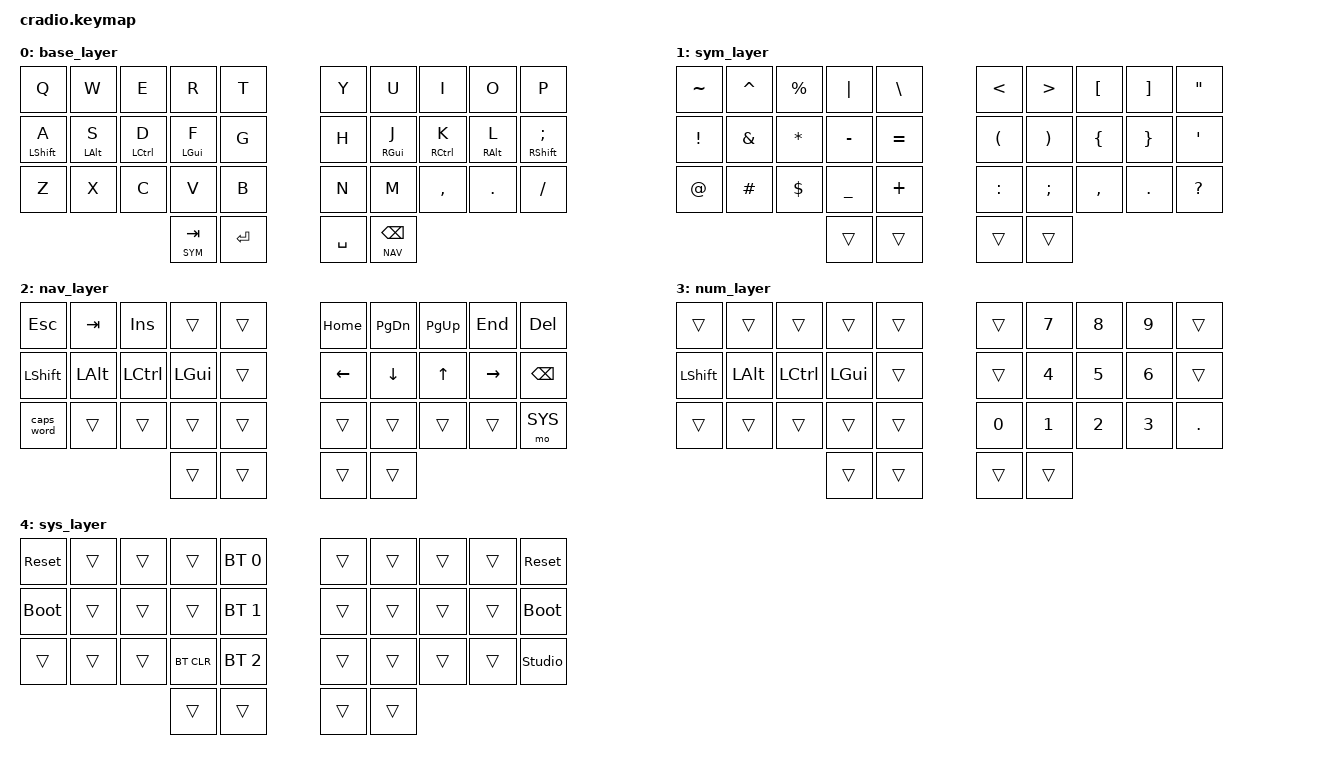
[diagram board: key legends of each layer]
// Copyright (c) 2022 The ZMK Contributors
// SPDX-License-Identifier: MIT

#include <behaviors.dtsi>
#include <dt-bindings/zmk/bt.h>
#include <dt-bindings/zmk/keys.h>

/*
 * Key position indices (34-key sweep):
 *   0  1  2  3  4    5  6  7  8  9
 *  10 11 12 13 14   15 16 17 18 19
 *  20 21 22 23 24   25 26 27 28 29
 *           30 31   32 33
 *
 * Layers: 0 BASE, 1 SYM (hold left outer thumb), 2 NAV (hold right outer thumb),
 *         3 NUM (SYM + NAV together), 4 SYS (&mo from NAV, bottom-right corner)
 */

#define BASE 0
#define SYM  1
#define NAV  2
#define NUM  3
#define SYS  4

/ {
    behaviors {
        // Home-row mods: balanced flavor + positional holds, so a mod only
        // activates when combined with a key on the OPPOSITE hand (or a thumb).
        // Same-hand rolls ("as", "ol", "sad") always resolve to taps.
        hml: home_row_mod_left {
            compatible = "zmk,behavior-hold-tap";
            #binding-cells = <2>;
            flavor = "balanced";
            display-name = "Mod-Tap (Left)";
            tapping-term-ms = <280>;
            quick-tap-ms = <175>;
            require-prior-idle-ms = <150>;
            hold-trigger-key-positions = <5 6 7 8 9 15 16 17 18 19 25 26 27 28 29 30 31 32 33>;
            hold-trigger-on-release;
            bindings = <&kp>, <&kp>;
        };

        hmr: home_row_mod_right {
            compatible = "zmk,behavior-hold-tap";
            #binding-cells = <2>;
            flavor = "balanced";
            display-name = "Mod-Tap (Right)";
            tapping-term-ms = <280>;
            quick-tap-ms = <175>;
            require-prior-idle-ms = <150>;
            hold-trigger-key-positions = <0 1 2 3 4 10 11 12 13 14 20 21 22 23 24 30 31 32 33>;
            hold-trigger-on-release;
            bindings = <&kp>, <&kp>;
        };
    };

    macros {
        arrow: arrow {
            compatible = "zmk,behavior-macro";
            #binding-cells = <0>;
            display-name = "->";
            bindings = <&macro_tap &kp MINUS &kp GREATER_THAN>;
        };

        scope: scope {
            compatible = "zmk,behavior-macro";
            #binding-cells = <0>;
            display-name = "::";
            bindings = <&macro_tap &kp COLON &kp COLON>;
        };

        fat_arrow: fat_arrow {
            compatible = "zmk,behavior-macro";
            #binding-cells = <0>;
            display-name = "=>";
            bindings = <&macro_tap &kp EQUAL &kp GREATER_THAN>;
        };
    };

    // Combos live on the base layer only. Tune positions/timings after real use.
    combos {
        compatible = "zmk,combos";

        combo_esc {
            timeout-ms = <25>;
            require-prior-idle-ms = <150>;
            key-positions = <16 17>; // J + K
            bindings = <&kp ESC>;
            layers = <BASE>;
        };

        combo_colon {
            timeout-ms = <25>;
            require-prior-idle-ms = <150>;
            key-positions = <18 19>; // L + ;
            bindings = <&kp COLON>;
            layers = <BASE>;
        };

        combo_scope {
            timeout-ms = <25>;
            require-prior-idle-ms = <150>;
            key-positions = <27 28>; // , + .
            bindings = <&scope>;
            layers = <BASE>;
        };

        combo_arrow {
            timeout-ms = <25>;
            require-prior-idle-ms = <150>;
            key-positions = <26 27>; // M + ,
            bindings = <&arrow>;
            layers = <BASE>;
        };

        combo_fat_arrow {
            timeout-ms = <25>;
            require-prior-idle-ms = <150>;
            key-positions = <17 18>; // K + L
            bindings = <&fat_arrow>;
            layers = <BASE>;
        };

        combo_caps_word {
            timeout-ms = <25>;
            require-prior-idle-ms = <150>;
            key-positions = <13 14>; // F + G
            bindings = <&caps_word>;
            layers = <BASE>;
        };

        combo_del {
            timeout-ms = <25>;
            require-prior-idle-ms = <150>;
            key-positions = <0 1>; // Q + W
            bindings = <&kp DEL>;
            layers = <BASE>;
        };
    };

    conditional_layers {
        compatible = "zmk,conditional-layers";

        num_layer {
            if-layers = <SYM NAV>;
            then-layer = <NUM>;
        };
    };

    keymap {
        compatible = "zmk,keymap";

        base_layer {
            bindings = <
&kp Q          &kp W       &kp E        &kp R       &kp T        &kp Y      &kp U       &kp I        &kp O       &kp P
&hml LSHFT A   &hml LALT S &hml LCTRL D &hml LGUI F &kp G        &kp H      &hmr RGUI J &hmr RCTRL K &hmr RALT L &hmr RSHFT SEMI
&kp Z          &kp X       &kp C        &kp V       &kp B        &kp N      &kp M       &kp COMMA    &kp DOT     &kp FSLH
                                        &lt SYM TAB &kp ENTER    &kp SPACE  &lt NAV BSPC
            >;
        };

        // C++/Rust symbols. Bracket pairs on the right home row.
        sym_layer {
            bindings = <
&kp TILDE   &kp CARET      &kp PERCENT  &kp PIPE        &kp BACKSLASH    &kp LESS_THAN  &kp GREATER_THAN  &kp LEFT_BRACKET   &kp RIGHT_BRACKET  &kp DOUBLE_QUOTES
&kp EXCLAMATION &kp AMPERSAND &kp ASTERISK &kp MINUS    &kp EQUAL        &kp LEFT_PARENTHESIS &kp RIGHT_PARENTHESIS &kp LEFT_BRACE &kp RIGHT_BRACE &kp SQT
&kp AT_SIGN &kp HASH       &kp DOLLAR   &kp UNDERSCORE  &kp PLUS         &kp COLON      &kp SEMICOLON    &kp COMMA          &kp DOT            &kp QUESTION
                                        &trans          &trans           &trans         &trans
            >;
        };

        // Arrows on hjkl positions, plain (non-HRM) mods on the left home row
        // so Shift/Ctrl+arrows and word-delete work while the layer is held.
        nav_layer {
            bindings = <
&kp ESC     &kp TAB    &kp INS    &trans     &trans        &kp HOME  &kp PG_DN  &kp PG_UP  &kp END    &kp DEL
&kp LSHFT   &kp LALT   &kp LCTRL  &kp LGUI   &trans        &kp LEFT  &kp DOWN   &kp UP     &kp RIGHT  &kp BSPC
&caps_word  &trans     &trans     &trans     &trans        &trans    &trans     &trans     &trans     &mo SYS
                                  &trans     &trans        &trans    &trans
            >;
        };

        // Right-hand numpad, plain mods on the left: Alt+1-9, Ctrl/Cmd+digit.
        num_layer {
            bindings = <
&trans      &trans     &trans     &trans     &trans        &trans    &kp N7     &kp N8     &kp N9     &trans
&kp LSHFT   &kp LALT   &kp LCTRL  &kp LGUI   &trans        &trans    &kp N4     &kp N5     &kp N6     &trans
&trans      &trans     &trans     &trans     &trans        &kp N0    &kp N1     &kp N2     &kp N3     &kp DOT
                                  &trans     &trans        &trans    &trans
            >;
        };

        sys_layer {
            bindings = <
&sys_reset   &trans  &trans  &trans      &bt BT_SEL 0    &trans  &trans  &trans  &trans  &sys_reset
&bootloader  &trans  &trans  &trans      &bt BT_SEL 1    &trans  &trans  &trans  &trans  &bootloader
&trans       &trans  &trans  &bt BT_CLR  &bt BT_SEL 2    &trans  &trans  &trans  &trans  &studio_unlock
                             &trans      &trans          &trans  &trans
            >;
        };
    };
};
